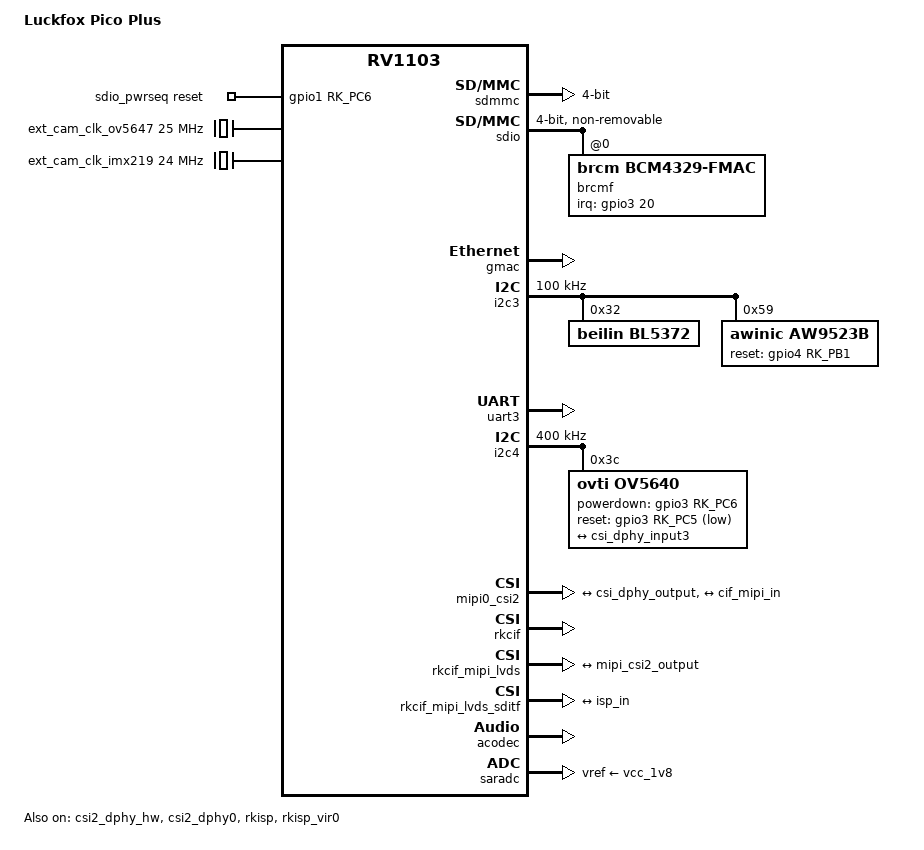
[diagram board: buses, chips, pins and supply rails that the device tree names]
// SPDX-License-Identifier: (GPL-2.0+ OR MIT)
/*
 * Copyright (c) 2022 Rockchip Electronics Co., Ltd.
 */

/dts-v1/;

#include "rv1103.dtsi"
#include "rv1106-evb.dtsi"
#include "rv1103-luckfox-pico-plus-ipc.dtsi"
/ {
	model = "Luckfox Pico Plus";
	compatible = "rockchip,rv1103g-38x38-ipc-v10", "rockchip,rv1103";
};

/**********MMC Section**********/
&sdmmc {
// V2 emmc
      max-frequency = <50000000>;
      bus-width = <4>;
      cap-mmc-highspeed;
      cap-sd-highspeed;
      sd-uhs-sdr104;
      disable-wp;
      pinctrl-names = "default";
      pinctrl-0 = <&sdmmc0_clk &sdmmc0_cmd &sdmmc0_det &sdmmc0_bus4>;
      status = "okay";
};

&sdio {
        max-frequency = <50000000>;
        bus-width = <4>;
        cap-sd-highspeed;
        cap-sdio-irq;
        keep-power-in-suspend;
        non-removable;
        sd-uhs-sdr50;
	no-1-8-v;
        supports-sdio;
        status="okay";
        pinctrl-names = "default";
        pinctrl-0 = <&sdmmc1m1_clk &sdmmc1m1_cmd &sdmmc1m1_bus4>;
        disable-wp;
        broken-cd;


        brcmf: wifi@0 {
                status = "okay";
                reg = <0>;
                compatible = "brcm,bcm4329-fmac";
                interrupt-parent = <&gpio3>;
                interrupts = <20 IRQ_TYPE_LEVEL_HIGH>;
                interrupt-names = "host-wake";
                brcm,broken_sg_support;
                /*brcm,sd-head-align = /bits/  16 <4>;*/
                brcm,sd_head_align = /bits/  16 <4>;
                brcm,sd_sgentry_align = /bits/  16 <512>;
        };

};

/ {
        sdio_pwrseq: sdio-pwrseq {
                compatible = "mmc-pwrseq-simple";
                pinctrl-names = "default";
                reset-gpios = <&gpio1 RK_PC6 GPIO_ACTIVE_HIGH>;
        };

};
# if 0
&sdio {
        u-boot,dm-pre-reloc;
        u-boot,dm-spl;
        max-frequency = <200000000>;
        bus-width = <4>;
        cap-sd-highspeed;
        cap-sdio-irq;
        keep-power-in-suspend;
        non-removable;
        rockchip,default-sample-phase = <90>;
        sd-uhs-sdr104;
        supports-sdio;
        status="okay";
        pinctrl-names = "default";
        pinctrl-0 = <&sdmmc1m1_clk &sdmmc1m1_cmd &sdmmc1m1_bus4>;
        disable-wp;
        broken-cd;


	sdio_pwrseq: sdio-pwrseq {
                compatible = "mmc-pwrseq-simple";
                pinctrl-names = "default";
                reset-gpios = <&gpio1 RK_PC6 GPIO_ACTIVE_HIGH>;
        };

        brcmf: wifi@0 {
                status = "okay";
                reg = <0>;
                compatible = "brcm,bcm4329-fmac";
                interrupt-parent = <&gpio3>;
                interrupts = <20 IRQ_TYPE_LEVEL_HIGH>;
                interrupt-names = "host-wake";
                brcm,broken_sg_support;
                /*brcm,sd-head-align = /bits/  16 <4>;*/
                brcm,sd_head_align = /bits/  16 <4>;
                brcm,sd_sgentry_align = /bits/  16 <512>;
        };

};
#endif
/**********WIFI**********/

#if 0

/ {

        sdio_pwrseq: sdio-pwrseq {
                compatible = "mmc-pwrseq-simple";
                pinctrl-names = "default";
                reset-gpios = <&gpio1 RK_PC6 GPIO_ACTIVE_HIGH>;
        };


bcmdhd: bcmdhd {
        compatible = "android,bcmdhd_wlan";
        gpio_wl_reg_on = <&gpio1 RK_PC6 GPIO_ACTIVE_HIGH>;
        gpio_wl_host_wake = <&gpio1 RK_PD0 GPIO_ACTIVE_HIGH>;
};


	wireless-wlan {
	        compatible = "wlan-platdata";
	        wifi_chip_type = "ap6212a";
	        WIFI,host_wake_irq = <&gpio1 RK_PD0 GPIO_ACTIVE_HIGH>;
	        WIFI,poweren_gpio = <&gpio1 RK_PC6 GPIO_ACTIVE_HIGH>;
	        status = "okay";
	};

};




        brcmf: wifi@0 {
                status = "okay";
                reg = <0>;
                compatible = "brcm,bcm4329-fmac";
                interrupt-parent = <&gpio3>;
                interrupts = <20 IRQ_TYPE_LEVEL_HIGH>;
                interrupt-names = "host-wake";
                brcm,broken_sg_support;
                /*brcm,sd-head-align = /bits/  16 <4>;*/
                brcm,sd_head_align = /bits/  16 <4>;
                brcm,sd_sgentry_align = /bits/  16 <512>;
        };

};
#endif


/**********SFC**********/
&sfc {
	status = "disabled";

	flash@0 {
		compatible = "spi-nand";
		reg = <0>;
		spi-max-frequency = <75000000>;
		spi-rx-bus-width = <4>;
		spi-tx-bus-width = <1>;
	};
};



/**********ETH**********/
&gmac {
	status = "okay";
};

/**********USB**********/
//&usbdrd {
//	status = "disabled";
//};

//&usbdrd_dwc3 {
//	status = "disabled";
//};

//&u2phy {
//	status = "disabled";
//};

//&u2phy_otg {
//	status = "disabled";
//};

/**********I2C**********/
// &i2c0 {
// 	status = "okay";
// 	pinctrl-0 = <&i2c0m2_xfer>;
// 	clock-frequency = <100000>;
// };
&i2c3 {
	status = "okay";
	pinctrl-0 = <&i2c3m1_xfer>;
	clock-frequency = <100000>;
};

/**********SPI**********/
&spi0 {
	status = "disabled";
	pinctrl-names = "default";
	pinctrl-0 = <&spi0m0_pins>;
	cs-gpios = <&gpio1 RK_PC0 1>;
	// cs-gpios = <&gpio1 26 1>;
	#address-cells = <1>;
	#size-cells = <0>;
	spidev@0 {
		compatible = "rockchip,spidev";
		spi-max-frequency = <1000000000>;
		reg = <0>;
	};
};




/**********UART**********/
&uart3 {
	status = "okay";
	pinctrl-names = "default";
	pinctrl-0 = <&uart3m1_xfer>;
};
&uart4 {
	status = "disabled";
	pinctrl-names = "default";
	pinctrl-0 = <&uart4m1_xfer>;
};
//&uart5 {
//	status = "okay";
//	pinctrl-names = "default";
//	pinctrl-0 = <&uart5m0_xfer>;
//};

/**********PWM**********/

//&pwm0 {
//	status = "okay";
//	pinctrl-names = "active";
//	pinctrl-0 = <&pwm0m0_pins>;
//	// pinctrl-0 = <&pwm0m1_pins>;
//};
//&pwm1 {
//	status = "okay";
//	pinctrl-names = "active";
//	pinctrl-0 = <&pwm1m0_pins>;
//	// pinctrl-0 = <&pwm1m1_pins>;
//};

//&pwm2 {
//	status = "okay";
//	pinctrl-names = "active";
//	pinctrl-0 = <&pwm2m2_pins>;
//};
//&pwm3 {
//	status = "okay";
//	pinctrl-names = "active";
//	pinctrl-0 = <&pwm3m2_pins>;
//};
//&pwm4 {
//	status = "okay";
//	pinctrl-names = "active";
//	pinctrl-0 = <&pwm4m2_pins>;
//};
//&pwm5 {
//	status = "okay";
//	pinctrl-names = "active";
//	pinctrl-0 = <&pwm5m2_pins>;
//};
//&pwm6 {
//	status = "okay";
//	pinctrl-names = "active";
//	pinctrl-0 = <&pwm6m2_pins>;
//};
//&pwm7 {
//	status = "okay";
//	pinctrl-names = "active";
//	pinctrl-0 = <&pwm7m2_pins>;
//};
//&pwm8 {
//	status = "okay";
//	pinctrl-names = "active";
//	// pinctrl-0 = <&pwm8m1_pins>;
//	pinctrl-0 = <&pwm8m0_pins>;
//};
//&pwm9 {
//	status = "okay";
//	pinctrl-names = "active";
//	// pinctrl-0 = <&pwm9m1_pins>;
//	pinctrl-0 = <&pwm9m0_pins>;
//};

//&pwm10 {
//	status = "okay";
//	pinctrl-names = "active";
//	pinctrl-0 = <&pwm10m1_pins>;
//	// pinctrl-0 = <&pwm10m2_pins>;
//	// pinctrl-0 = <&pwm10m0_pins>;
//};
//&pwm11 {
//	status = "okay";
//	pinctrl-names = "active";
//	pinctrl-0 = <&pwm11m1_pins>;
//	// pinctrl-0 = <&pwm11m2_pins>;
//	// pinctrl-0 = <&pwm11m0_pins>;
//};


/**********CAMERA**********/

&csi2_dphy_hw {
        status = "okay";
};

&csi2_dphy0 {
        status = "okay";

        ports {
                #address-cells = <1>;
                #size-cells = <0>;

                port@0 {
                        reg = <0>;
                        #address-cells = <1>;
                        #size-cells = <0>;

                        csi_dphy_input0: endpoint@0 {
                                reg = <0>;
                                remote-endpoint = <&ov5647_out>;
                                data-lanes = <1 2>;
                        };
                        csi_dphy_input1: endpoint@1 {
                                reg = <1>;
                                remote-endpoint = <&sc3336_out>;
                                data-lanes = <1 2>;
                        };
                        csi_dphy_input2: endpoint@2 {
                                reg = <2>;
                                remote-endpoint = <&imx219_out>;
                                data-lanes = <1 2>;
                        };
                        csi_dphy_input3: endpoint@3 {
                                reg = <3>;
                                remote-endpoint = <&ov5640_out>;
                                data-lanes = <1 2>;
                        };
                        csi_dphy_input4: endpoint@4 {
                                reg = <4>;
                                remote-endpoint = <&jx_k17_out>;
                                data-lanes = <1 2>;
                        };
                };
               port@1 {
                        reg = <1>;
                        #address-cells = <1>;
                        #size-cells = <0>;

                        csi_dphy_output: endpoint@0 {
                                reg = <0>;
                                remote-endpoint = <&mipi_csi2_input>;
                        };
                };
        };
};
/{
        ext_cam_clk_ov5647: external-camera-clock-ov5647 {
                compatible = "fixed-clock";
                clock-frequency = <25000000>;
                clock-output-names = "CLK_CAMERA_25MHZ";
                #clock-cells = <0>;
        };
        ext_cam_clk_imx219: external-camera-clock-imx219 {
                compatible = "fixed-clock";
                clock-frequency = <24000000>;
                clock-output-names = "CLK_CAMERA_24MHZ";
                #clock-cells = <0>;
        };
};


&i2c4 {
status = "okay";
        clock-frequency = <400000>;
        pinctrl-names = "default";
        pinctrl-0 = <&i2c4m2_xfer>;

        sc3336: sc3336@30 {
                compatible = "smartsens,sc3336";
                status = "disabled";
                reg = <0x30>;
                clocks = <&cru MCLK_REF_MIPI0>;
                clock-names = "xvclk";
                reset-gpios = <&gpio3 RK_PC5 GPIO_ACTIVE_HIGH>;
                pwdn-gpios = <&gpio3 RK_PD2 GPIO_ACTIVE_HIGH>;
                pinctrl-names = "default";
                pinctrl-0 = <&mipi_refclk_out0>;
                rockchip,camera-module-index = <0>;
                rockchip,camera-module-facing = "back";
                rockchip,camera-module-name = "CMK-OT2119-PC1";
                rockchip,camera-module-lens-name = "30IRC-F16";
                port {
                        sc3336_out: endpoint {
                                remote-endpoint = <&csi_dphy_input1>;
                                data-lanes = <1 2>;
                        };
                };
        };

        ov5640: ov5640@3c { /* YUV output */
                compatible = "ovti,ov5640";
                pinctrl-names = "default";
                pinctrl-0 = <&mipi_refclk_out0>;
                reg = <0x3c>;
                clock-names = "xclk";
		clocks = <&cru MCLK_REF_MIPI0>;
		status = "okay";

                powerdown-gpios = <&gpio3 RK_PC6 GPIO_ACTIVE_HIGH>; // GPIO_0
                powerdown = <&gpio3 RK_PC6 GPIO_ACTIVE_HIGH>; // GPIO_0
                reset-gpios = <&gpio3 RK_PC5 GPIO_ACTIVE_LOW>; // GPIO_2
                reset = <&gpio3 RK_PC5 GPIO_ACTIVE_LOW>; // GPIO_2


                rockchip,camera-module-index = <0>;
                rockchip,camera-module-facing = "back";
                rockchip,camera-module-name = "NC";
                rockchip,camera-module-lens-name = "NC";
                port {
                        ov5640_out: endpoint {
                                remote-endpoint = <&csi_dphy_input3>;
                                data-lanes = <1 2>;
                        };
                };
        };
        ov5647: ov5647@36 {
                status = "disabled";
                compatible = "ovti,ov5647";
                reg = <0x36>;

                clocks = <&ext_cam_clk_ov5647>;
                clock-names = "CLK_CAMERA_25MHZ";

                pwdn-gpios = <&gpio3 RK_PC6 GPIO_ACTIVE_HIGH>; // GPIO_0
                pwdn = <&gpio3 RK_PC6 GPIO_ACTIVE_HIGH>; // GPIO_0
                rst-gpios = <&gpio3 RK_PC5 GPIO_ACTIVE_LOW>; // GPIO_2
                rst = <&gpio3 RK_PC5 GPIO_ACTIVE_LOW>; // GPIO_2

                rockchip,camera-module-index = <0>;
                rockchip,camera-module-facing = "back";
                rockchip,camera-module-name = "NC";
                rockchip,camera-module-lens-name = "NC";

                port {  
                        ov5647_out: endpoint {
                                remote-endpoint = <&csi_dphy_input0>;
                                data-lanes = <1 2>;
                        };
                };

        };


        imx219: imx219@10 {
                compatible = "sony,imx219";
                reg = <0x10>;
                clocks = <&ext_cam_clk_imx219>;
                status = "disabled";
                rockchip,camera-module-index = <0>;
                rockchip,camera-module-facing = "back";
                rockchip,camera-module-name = "NC";
                rockchip,camera-module-lens-name = "NC";
                port {
                        imx219_out: endpoint {
                                remote-endpoint = <&csi_dphy_input2>;
                                data-lanes = <1 2>;
                        };
                };
        };

        jx_k17: jx_k17@40 {
                compatible = "soi,jx_k17";
                status = "disabled";
                reg = <0x40>;
                clocks = <&cru MCLK_REF_MIPI0>;
                clock-names = "xvclk";
                reset-gpios = <&gpio3 RK_PC5 GPIO_ACTIVE_HIGH>;
                pwdn-gpios = <&gpio3 RK_PC6 GPIO_ACTIVE_HIGH>;
                pinctrl-names = "default";
                pinctrl-0 = <&mipi_refclk_out0>;
                rockchip,camera-module-index = <0>;
                rockchip,camera-module-facing = "back";
                rockchip,camera-module-name = "T3801-A";
                rockchip,camera-module-lens-name = "22IRC-5M-F18";
                port {
                        jx_k17_out: endpoint {
                                remote-endpoint = <&csi_dphy_input4>;
                                data-lanes = <1 2>;
                        };
                };
        };
};

&mipi0_csi2 {
        status = "okay";

        ports {
                #address-cells = <1>;
                #size-cells = <0>;

                port@0 {
                        reg = <0>;
                        #address-cells = <1>;
                        #size-cells = <0>;

                        mipi_csi2_input: endpoint@1 {
                                reg = <1>;
                                remote-endpoint = <&csi_dphy_output>;
                        };
                };

                port@1 {
                        reg = <1>;
                        #address-cells = <1>;
                        #size-cells = <0>;

                        mipi_csi2_output: endpoint@0 {
                                reg = <0>;
                                remote-endpoint = <&cif_mipi_in>;
                        };
                };
        };
};

&rkcif {
        status = "okay";
};
&rkcif_mipi_lvds {
        status = "okay";

        pinctrl-names = "default";
        pinctrl-0 = <&mipi_pins>;
        port {
                /* MIPI CSI-2 endpoint */
                cif_mipi_in: endpoint {
                        remote-endpoint = <&mipi_csi2_output>;
                };
        };
};

&rkcif_mipi_lvds_sditf {
        status = "okay";

        port {
                /* MIPI CSI-2 endpoint */
                mipi_lvds_sditf: endpoint {
                        remote-endpoint = <&isp_in>;
                };
        };
};

&rkisp {
        status = "okay";
};

&rkisp_vir0 {
        status = "okay";

        port@0 {
                isp_in: endpoint {
                        remote-endpoint = <&mipi_lvds_sditf>;
                };
        };
};

/**********GPIO**********/

&pinctrl {

        gpio-leds {
                gpio_leds: gpio-leds {
                        rockchip,pins =
                        <0 RK_PA4 RK_FUNC_GPIO &pcfg_pull_none>,
                        <4 RK_PA4 RK_FUNC_GPIO &pcfg_pull_none>;
                };
        };
};

/ {
leds: gpio-leds {
        compatible = "gpio-leds";
        pinctrl-names = "default";
        pinctrl-0 = <&gpio_leds>;

#if 0
        cam_pwrdn {
                gpios = <&gpio3 RK_PC6 GPIO_ACTIVE_HIGH>;
                label = "CAM_PWRDN";
        };
#endif
#if 0
        door_sns {
                gpios = <&gpio4 RK_PA4 GPIO_ACTIVE_HIGH>;
                label = "DOOR";
        };

        call_btn {
                gpios = <&gpio4 RK_PA6 GPIO_ACTIVE_HIGH>;
                label = "MAIN_BUTTON";
        };

        exit_btn {
                gpios = <&gpio0 RK_PA4 GPIO_ACTIVE_HIGH>;
                label = "EXIT_B";
        };
#endif

	};	
};


&i2c3{

        bl5372: rtc@32 {
                compatible = "beilin,bl5372";
                reg = <0x32>;
                status = "okay";
        };



        aw9523b: gpio@59 {
                compatible = "awinic,aw9523b";
                reg = <0x59>;

                status = "okay";
                gpio-controller;
                #gpio-cells = <2>;
                interrupt-controller;
                #interrupt-cells = <2>;
                reset-gpios = <&gpio4 RK_PB1 GPIO_ACTIVE_HIGH>;

              gpio-line-names = "IR_LED4", "IR_LED_5", "BTN_LED_G", "BTN_LED_R", "P0_4", "P0_5", "P0_6", "P0_7",
                        "IR_LED0", "IR_LED1", "IR_LED2", "IR_LED_3", "DO_LOCK", "DO_IR_CUT", "AMP_EN", "P1_7";

                aw9523,led {
                        aw9523,default_imax = <0>;
                        irlight {
                                label = "ir:camera"; // led sys class name. Name according to: https://www.kernel.org/doc/html/latest/leds/leds-class.html
                                aw9523,leds = <0 1 8 9 10 11>; // The led index(es). 0..15
                                aw9523,default_brightness = <255>; // 0..max_brightness
                                aw9523,max_brightness = <128>; // 1..255. 127: ~ half of configured default_imax
                                aw9523,leds_bright_adjust = <70 70 70 100 100 100>; // optional brightness adjustment in %
                        };
                        ledgreen{
                                label = "green:button";
                                aw9523,leds = <2>;
                                aw9523,default_brightness = <20>;
                                aw9523,max_brightness = <128>;
                        };
                        ledred{
                                label = "red:button";
                                aw9523,leds = <3>;
                                aw9523,default_brightness = <20>;
                                aw9523,max_brightness = <128>;
                        };


                };
	};
};

&pinctrl {
        gpio-leds {
                gpio_leds: gpio-leds {
                        rockchip,pins =
                        <4 RK_PB1 RK_FUNC_GPIO &pcfg_pull_none>, // I2C_GPIO_RESET_PIN
                        <4 RK_PA2 RK_FUNC_GPIO &pcfg_pull_none>, // SRV_BUTTON
                        <4 RK_PA4 RK_FUNC_GPIO &pcfg_pull_none>, // DOOR 
                        <4 RK_PA6 RK_FUNC_GPIO &pcfg_pull_none>, // MAIN_BUTTON
                        <0 RK_PA4 RK_FUNC_GPIO &pcfg_pull_none>, // EXIT_B
                        <3 RK_PC6 RK_FUNC_GPIO &pcfg_pull_none>; // CAM_PWRDN
                };
        };
};


&gpio0 {
        gpio-line-names =
                "GPIO0_A0","GPIO0_A1","GPIO0_A2","GPIO0_A3","EXIT_B","GPIO0_A5","GPIO0_A6","GPIO0_A7",
                "GPIO0_B0","GPIO0_B1","GPIO0_B2","GPIO0_B3","GPIO0_B4","GPIO0_B5","GPIO0_B6","GPIO0_B7",
                "GPIO0_C0","GPIO0_C1","GPIO0_C2","GPIO0_C3","GPIO0_C4","GPIO0_C5","GPIO0_C6","GPIO0_C7",
                "GPIO0_D0","GPIO0_D1","GPIO0_D2","GPIO0_D3","GPIO0_D4","GPIO0_D5","GPIO0_D6","GPIO0_D7";
};

&gpio1 {
        gpio-line-names =
                "GPIO1_A0","GPIO1_A1","PIR_SENSOR","GPIO1_A3","GPIO1_A4","GPIO1_A5","GPIO1_A6","GPIO1_A7",
                "GPIO1_B0","GPIO1_B1","GPIO1_B2","GPIO1_B3","GPIO1_B4","GPIO1_B5","GPIO1_B6","GPIO1_B7",
                "GPIO1_C0","GPIO1_C1","GPIO1_C2","GPIO1_C3","GPIO1_C4","GPIO1_C5","GPIO1_C6","GPIO1_C7",
                "GPIO1_D0","GPIO1_D1","GPIO1_D2","GPIO1_D3","GPIO1_D4","GPIO1_D5","GPIO1_D6","GPIO1_D7";
};


&gpio3 {
        gpio-line-names =
                "GPIO3_A0","GPIO3_A1","GPIO3_A2","GPIO3_A3","GPIO3_A4","GPIO3_A5","GPIO3_A6","GPIO3_A7",
                "GPIO3_B0","GPIO3_B1","GPIO3_B2","GPIO3_B3","GPIO3_B4","GPIO3_B5","GPIO3_B6","GPIO3_B7",
                "GPIO3_C0","GPIO3_C1","GPIO3_C2","GPIO3_C3","GPIO3_C4","GPIO3_C5","GPIO3_C6","GPIO3_C7",
                "GPIO3_D0","GPIO3_D1","GPIO3_D2","GPIO3_D3","GPIO3_D4","GPIO3_D5","GPIO3_D6","GPIO3_D7";
};


&gpio4 {
        gpio-line-names =
                "GPIO4_A0","GPIO4_A1","SRV_BUTTON","GPIO4_A3","DOOR","GPIO4_A5","MAIN_BUTTON","GPIO4_A7",
                "GPIO4_B0","I2C_GPIO_RESET_PIN","GPIO4_B2","GPIO4_B3","GPIO4_B4","GPIO4_B5","GPIO4_B6","GPIO4_B7",
                "GPIO4_C0","GPIO4_C1","GPIO4_C2","GPIO4_C3","GPIO4_C4","GPIO4_C5","GPIO4_C6","GPIO4_C7",
                "GPIO4_D0","GPIO4_D1","GPIO4_D2","GPIO4_D3","GPIO4_D4","GPIO4_D5","GPIO4_D6","GPIO4_D7";
};


/**********AUDIO IN**********/

&acodec {
        #sound-dai-cells = <0>;
        //pa-ctl-gpios = <&gpio1 RK_PA1 GPIO_ACTIVE_HIGH>;
        status = "okay";
};


/********** RTC **********/




/********** ADC **********/

&saradc {
        status = "okay";
        vref-supply = <&vcc_1v8>;
};
